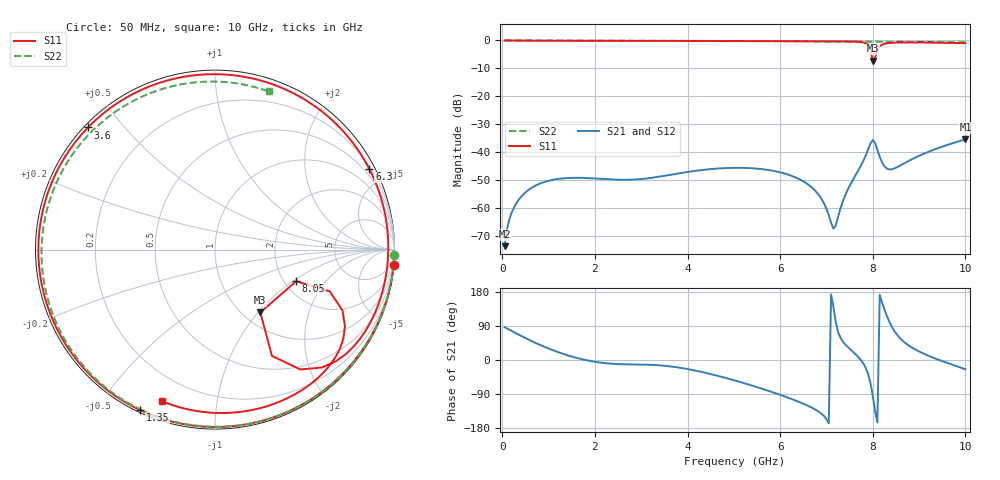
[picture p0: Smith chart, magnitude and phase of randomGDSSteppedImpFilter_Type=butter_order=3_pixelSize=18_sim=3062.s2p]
! freq	dB(S11)	phase(S11)	dB(S12)	phase(S12)
!  dB(S21)	phase(S21)	dB(S22)	phase(S22)
!S-par simulation data
#  GHz  S  DB  R 50
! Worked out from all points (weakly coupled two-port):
!   200 points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, 50 MHz to 10 GHz, reference 50 ohm
!   highest |S21| = -35.48 dB at 10 GHz (marker M1); lowest = -73.8 dB at 50 MHz (marker M2)
!   lowest |S11| = -7.3 dB at 8 GHz (marker M3), VSWR 2.52, Z = 59.7 - j51.4 ohm
!   |S11| at or under -10 dB: nowhere
!   |S22| runs from -0.6 to 0.0 dB; largest |S21 - S12| = 0
!   S11 on the Smith chart (normalised r, x): 50 MHz: 0, -23; 1.35 GHz: 0.01, -0.64; 3.6 GHz: 0.01, +0.40; 6.3 GHz: 0.27, +4.07; 8.05 GHz: 2.31, -1.06; 10 GHz: 0.08, -0.71
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0.05  -0.00 -5.0  -73.79 86.6  -73.79 86.6  -0.00 -1.7
0.15  -0.02 -15.0  -64.32 80.0  -64.32 80.0  -0.01 -5.0
0.4  -0.06 -39.2  -56.20 64.0  -56.20 64.0  -0.02 -13.1
0.85  -0.09 -78.7  -51.10 37.9  -51.10 37.9  -0.04 -27.7
1.35  -0.11 -115.1  -49.41 14.7  -49.41 14.7  -0.05 -43.6
1.75  -0.12 -139.4  -49.30 1.2  -49.30 1.2  -0.07 -56.0
2.5  -0.14 -177.2  -49.97 -10.9  -49.97 -10.9  -0.10 -78.3
3.4  -0.16 144.2  -48.82 -14.1  -48.82 -14.1  -0.13 -103.6
3.6  -0.16 136.1  -48.26 -16.5  -48.26 -16.5  -0.14 -109.1
5.05  -0.21 78.2  -45.69 -55.0  -45.69 -55.0  -0.21 -147.0
6.3  -0.26 27.5  -48.91 -105.4  -48.91 -105.4  -0.29 -179.2
6.7  -0.29 11.1  -52.97 -126.8  -52.97 -126.8  -0.33 170.3
6.95  -0.30 0.7  -58.52 -148.3  -58.52 -148.3  -0.35 163.6
7.15  -0.32 -7.8  -67.52 140.3  -67.52 140.3  -0.36 158.1
7.85  -1.05 -47.8  -41.19 -21.5  -41.19 -21.5  -0.43 138.5
7.95  -3.46 -61.8  -36.96 -60.6  -36.96 -60.6  -0.44 135.6
8  -7.29 -54.2  -35.72 -95.3  -35.72 -95.3  -0.44 134.2
8.05  -6.28 -21.3  -36.76 -133.9  -36.76 -133.9  -0.45 132.7
8.15  -2.08 -25.5  -41.74 171.9  -41.74 171.9  -0.46 129.8
8.35  -0.93 -41.4  -46.25 103.0  -46.25 103.0  -0.47 123.9
9.1  -0.74 -74.6  -40.65 16.7  -40.65 16.7  -0.54 100.7
10  -0.97 -109.3  -35.48 -24.3  -35.48 -24.3  -0.63 71.3
